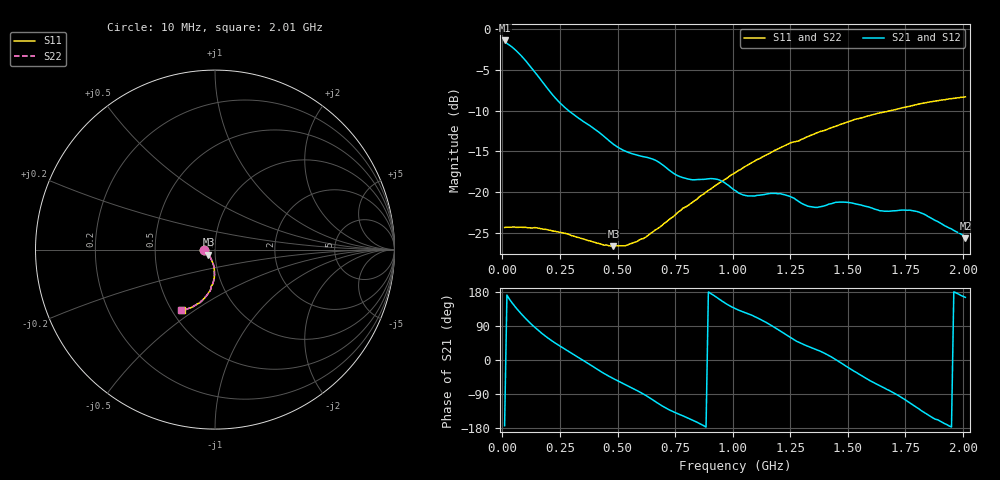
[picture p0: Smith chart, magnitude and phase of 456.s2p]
# MHz S MA R 50
!  freq  S11  S21  S12  S22
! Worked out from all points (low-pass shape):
!   200 points, 10 MHz to 2.01 GHz, reference 50 ohm
!   highest |S21| = -1.39 dB at 10 MHz (marker M1); lowest = -25.7 dB at 2.01 GHz (marker M2)
!   |S21| within 3 dB of the highest: start of sweep to 116.1 MHz
!   lowest |S11| = -26.7 dB at 482.4 MHz (marker M3), VSWR 1.10, Z = 46.4 - j2.67 ohm
!   |S11| at or under -10 dB: start of sweep to 1.687 GHz
!   |S22| runs from -26.7 to -8.3 dB; largest |S21 - S12| = 0.0012
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10  0.06048 -179.7  0.8519 -173.4  0.852 -173.4  0.06053 -179.9
20.05025  0.06071 -179.2  0.8171 171.3  0.8171 171.3  0.06063 -179.1
30.1005  0.06066 -178.8  0.7994 161.3  0.7993 161.3  0.06075 -178.9
50.20101  0.061 -177.8  0.7596 144.7  0.7605 144.7  0.06072 -177.6
70.30151  0.06062 -176.8  0.7147 129.9  0.7156 129.9  0.06046 -176.9
100.4523  0.06066 -175.4  0.642 110.0  0.642 110.0  0.06079 -175.5
150.7035  0.06008 -173.8  0.5241 81.1  0.5242 81.0  0.06005 -174.0
200.9548  0.05835 -172.4  0.4233 56.6  0.4231 56.7  0.05827 -172.2
271.3065  0.05568 -168.1  0.3304 28.7  0.3306 28.8  0.05574 -167.9
351.7085  0.05141 -161.1  0.2707 -1.2  0.2708 -1.2  0.05153 -161.2
482.3618  0.04643 -141.9  0.1963 -49.1  0.1964 -49.2  0.04681 -142.1
582.8643  0.04949 -123.9  0.1684 -79.9  0.1683 -80.0  0.04945 -124.1
683.3668  0.0607 -108.3  0.151 -117.2  0.1509 -117.2  0.0607 -108.2
773.8191  0.07689 -99.0  0.1238 -144.9  0.1235 -144.8  0.07731 -98.8
894.4221  0.1023 -92.7  0.1202 179.5  0.1204 179.6  0.1025 -92.7
1015.025  0.1326 -91.4  0.1012 134.6  0.1009 134.5  0.1332 -91.5
1185.879  0.181 -92.9  0.09796 84.2  0.09815 84.2  0.181 -92.8
1346.683  0.2247 -96.4  0.0807 31.2  0.08077 31.1  0.2246 -96.3
1487.387  0.2653 -100.8  0.08652 -14.5  0.08668 -14.5  0.2656 -101.0
1678.342  0.3144 -107.0  0.0761 -80.1  0.07614 -80.2  0.314 -107.3
1808.995  0.347 -111.9  0.07514 -129.3  0.07514 -129.3  0.347 -112.0
2010  0.3836 -119.0  0.05197 165.3  0.05211 165.4  0.384 -119.2
